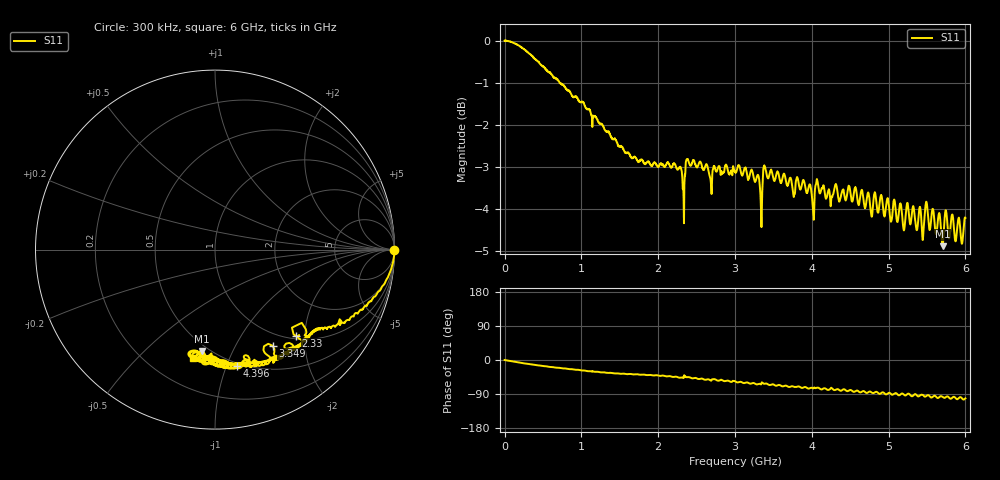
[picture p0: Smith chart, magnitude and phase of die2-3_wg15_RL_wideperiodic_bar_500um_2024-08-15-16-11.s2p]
!Keysight Technologies,P9374A,MY57304198,A.17.20.09
!Date: Thursday, August 15, 2024 16:11:34
!Correction: S11(C  1-Port  )
!S21(C  1-Port  )
!S12(Off)
!S22(Off)
!S2P File: Measurements: S11, S21, S12, S22:
# Hz S  dB  R 50
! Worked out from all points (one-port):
!   6000 points, 300 kHz to 6 GHz, reference 50 ohm
!   lowest |S11| = -4.9 dB at 5.702 GHz (marker M1), VSWR 3.64, Z = 23 - j38.3 ohm
!   |S11| at or under -10 dB: nowhere
!   S11 on the Smith chart (normalised r, x): 300 kHz: open; 2.33 GHz: 1.06, -1.80; 3.349 GHz: 0.81, -1.43; 4.396 GHz: 0.47, -1.09; 6 GHz: 0.38, -0.75
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300000  -0.00 -0.0  -200.00 45.0  -200.00 45.0  -200.00 45.0
4.143483e8  -0.46 -13.8  -200.00 45.0  -200.00 45.0  -200.00 45.0
1.000417e9  -1.46 -27.5  -200.00 45.0  -200.00 45.0  -200.00 45.0
1.500475e9  -2.51 -36.3  -200.00 45.0  -200.00 45.0  -200.00 45.0
2.000533e9  -3.00 -41.1  -200.00 45.0  -200.00 45.0  -200.00 45.0
2.282566e9  -3.01 -46.7  -200.00 45.0  -200.00 45.0  -200.00 45.0
2.329572e9  -3.63 -46.9  -200.00 45.0  -200.00 45.0  -200.00 45.0
2.382578e9  -2.83 -45.2  -200.00 45.0  -200.00 45.0  -200.00 45.0
2.671612e9  -3.23 -52.7  -200.00 45.0  -200.00 45.0  -200.00 45.0
2.730619e9  -2.99 -50.4  -200.00 45.0  -200.00 45.0  -200.00 45.0
3.00065e9  -3.12 -56.1  -200.00 45.0  -200.00 45.0  -200.00 45.0
3.289684e9  -3.21 -64.3  -200.00 45.0  -200.00 45.0  -200.00 45.0
3.348691e9  -4.09 -59.1  -200.00 45.0  -200.00 45.0  -200.00 45.0
3.383695e9  -2.98 -62.8  -200.00 45.0  -200.00 45.0  -200.00 45.0
3.545714e9  -3.14 -67.6  -200.00 45.0  -200.00 45.0  -200.00 45.0
4.000767e9  -3.69 -73.3  -200.00 45.0  -200.00 45.0  -200.00 45.0
4.395813e9  -3.58 -79.3  -200.00 45.0  -200.00 45.0  -200.00 45.0
5.000883e9  -3.87 -86.9  -200.00 45.0  -200.00 45.0  -200.00 45.0
5.446935e9  -4.73 -92.1  -200.00 45.0  -200.00 45.0  -200.00 45.0
5.493941e9  -3.84 -94.5  -200.00 45.0  -200.00 45.0  -200.00 45.0
5.701965e9  -4.90 -97.5  -200.00 45.0  -200.00 45.0  -200.00 45.0
6e9  -4.22 -101.2  -200.00 45.0  -200.00 45.0  -200.00 45.0
